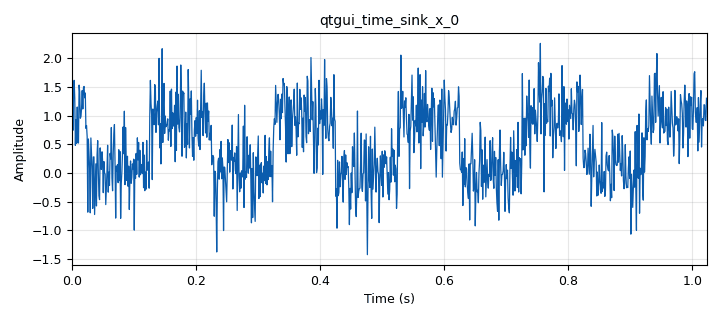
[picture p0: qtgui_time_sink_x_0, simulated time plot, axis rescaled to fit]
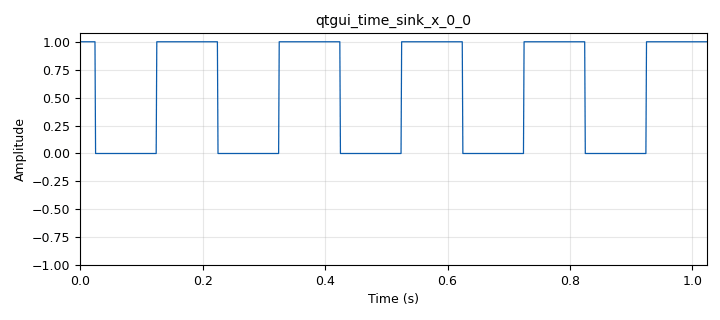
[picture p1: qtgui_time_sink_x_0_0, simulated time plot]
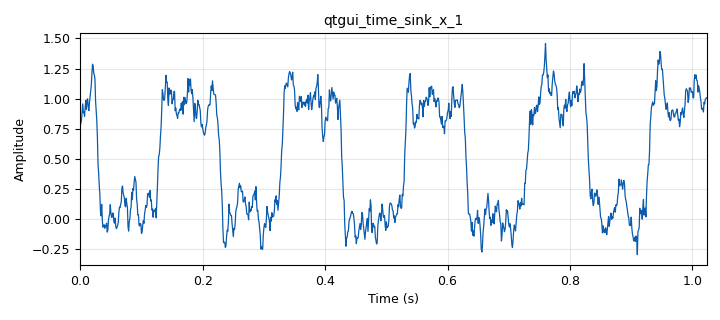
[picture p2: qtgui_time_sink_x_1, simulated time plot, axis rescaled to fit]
options:
  parameters:
    author: psebs
    generate_options: qt_gui
    id: untitled
    output_language: python
    title: Not titled yet
  states: {}

blocks:
- name: samp_rate
  id: variable
  parameters:
    value: '1000'
  states: {}
- name: analog_noise_source_x_0
  id: analog_noise_source_x
  parameters:
    amp: '0.4'
    noise_type: analog.GR_GAUSSIAN
    seed: '0'
    type: float
  states: {}
- name: analog_sig_source_x_0
  id: analog_sig_source_x
  parameters:
    amp: '1'
    freq: '5'
    offset: '0'
    phase: '0'
    samp_rate: samp_rate
    type: float
    waveform: analog.GR_SQR_WAVE
  states: {}
- name: blocks_add_xx_0
  id: blocks_add_xx
  parameters:
    type: float
  states: {}
- name: epy_block_0
  id: epy_block
  parameters:
    _source_code: |-
      import numpy as np
      from gnuradio import gr

      class blk(gr.sync_block):
          def __init__(self, window_size=10):
              gr.sync_block.__init__(self,
                  name="Media_Movil",
                  in_sig=[np.float32],
                  out_sig=[np.float32])
              
              self.window_size = window_size
              self.buffer = []

          def work(self, input_items, output_items):
              for i in range(len(input_items[0])):
                  self.buffer.append(input_items[0][i])
                  
                  if len(self.buffer) > self.window_size:
                      self.buffer.pop(0)

                  output_items[0][i] = np.mean(self.buffer)

              return len(output_items[0])
    window_size: '10'
  states: {}
- name: qtgui_time_sink_x_0
  id: qtgui_time_sink_x
  parameters:
    size: '1024'
    srate: samp_rate
    type: float
    yunit: '"Señal + Ruido"'
  states: {}
- name: qtgui_time_sink_x_0_0
  id: qtgui_time_sink_x
  parameters:
    size: '1024'
    srate: samp_rate
    type: float
    yunit: '"Entrada"'
  states: {}
- name: qtgui_time_sink_x_1
  id: qtgui_time_sink_x
  parameters:
    size: '1024'
    srate: samp_rate
    type: float
    yunit: '"Salida"'
  states: {}

connections:
- [analog_noise_source_x_0, '0', blocks_add_xx_0, '1']
- [analog_sig_source_x_0, '0', blocks_add_xx_0, '0']
- [analog_sig_source_x_0, '0', qtgui_time_sink_x_0_0, '0']
- [blocks_add_xx_0, '0', epy_block_0, '0']
- [blocks_add_xx_0, '0', qtgui_time_sink_x_0, '0']
- [epy_block_0, '0', qtgui_time_sink_x_1, '0']

metadata:
  file_format: 1
  grc_version: 3.10.12.0
